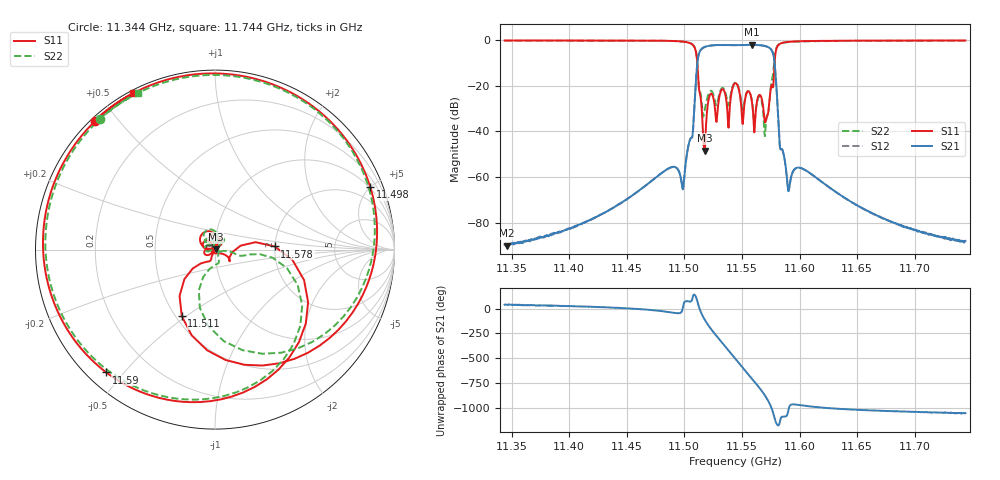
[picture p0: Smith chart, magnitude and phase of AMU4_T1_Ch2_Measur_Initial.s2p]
#  HZ  S  RI  R  50.00
! Rohde & Schwarz ZVA50 2Ports - Version 3.70 - 1145.1110k50 SN: 100192
! Date: 2025-08-07 12:42:33
! Measurements: S11 S21 S12 S22
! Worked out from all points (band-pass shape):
!   1001 points, 11.344 GHz to 11.744 GHz, reference 50 ohm
!   highest |S21| = -2.06 dB at 11.559 GHz (marker M1); lowest = -90.1 dB at 11.346 GHz (marker M2)
!   |S21| within 3 dB of the highest: 11.513 GHz to 11.576 GHz (63.09 MHz wide, 0.547 % of centre)
!   lowest |S11| = -48.4 dB at 11.518 GHz (marker M3), VSWR 1.01, Z = 50.4 + j0.0917 ohm
!   |S11| at or under -10 dB: 11.511 GHz to 11.578 GHz (67.11 MHz wide, 0.581 % of centre)
!   |S22| runs from -42.1 to -0.2 dB; largest |S21 - S12| = 0.0026
!   S11 on the Smith chart (normalised r, x): 11.344 GHz: 0.01, +0.44; 11.498 GHz: 0.94, +5.00; 11.511 GHz: 0.54, -0.48; 11.578 GHz: 1.99, +0.08; 11.59 GHz: 0.05, -0.45; 11.744 GHz: 0.01, +0.60
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1.1344e10  -0.6687 0.7192  2.64e-05 2.12e-05  2.3e-05 1.99e-05  -0.641 0.7289
1.1346e10  -0.6625 0.725  2.46e-05 1.92e-05  2.59e-05 1.92e-05  -0.6351 0.7341
1.14108e10  -0.3848 0.9054  8.91e-05 3.36e-05  8.93e-05 3.35e-05  -0.3742 0.8979
1.14776e10  0.3597 0.9051  0.00101 -0.000407  0.001 -0.000418  0.3051 0.9187
1.1498e10  0.8651 0.3479  0.000601 -0.00026  0.000593 -0.000266  0.8082 0.4689
1.15108e10  -0.1852 -0.3704  -0.0158 0.2298  -0.0154 0.2293  -0.0362 -0.427
1.15176e10  0.00369 0.000911  -0.2423 -0.6651  -0.2428 -0.6631  0.0244 0.0151
1.1522e10  0.0121 0.0596  -0.749 0.0985  -0.747 0.0996  0.0409 0.0621
1.15276e10  0.00662 0.0154  0.0159 0.779  0.017 0.777  0.0148 0.0347
1.15348e10  0.0124 0.0741  0.7652 -0.162  0.7631 -0.1628  0.0171 0.08
1.1544e10  -0.0715 0.0876  -0.6124 -0.4771  -0.6115 -0.4751  -0.0469 0.1073
1.1552e10  -0.036 0.000663  -0.2028 0.7601  -0.2008 0.7586  -0.0354 0.0225
1.15588e10  -0.0193 0.0378  0.7742 0.1532  0.7726 0.1513  -0.0115 0.0432
1.15652e10  -0.0589 -0.0222  0.1377 -0.7632  0.1359 -0.7617  -0.0584 0.00748
1.15708e10  -0.00573 -0.0162  -0.7271 -0.1115  -0.7254 -0.1106  0.012 -0.00946
1.15744e10  0.0572 -0.0297  -0.2504 0.6114  -0.2492 0.6102  0.0652 -0.0077
1.15784e10  0.3326 0.0177  0.2782 -0.1345  0.2775 -0.1344  0.4009 -0.1034
1.15832e10  0.0335 -0.8343  0.00278 -0.00305  0.00276 -0.00305  -0.066 -0.834
1.159e10  -0.6053 -0.6845  0.000452 0.000298  0.000452 0.000295  -0.6584 -0.6223
1.16108e10  -0.9573 -0.011  -2.1e-05 0.00113  -1.68e-05 0.00113  -0.9449 0.0554
1.16776e10  -0.7133 0.6691  7.57e-05 7.87e-05  7.6e-05 7.92e-05  -0.676 0.6932
1.1744e10  -0.4569 0.8704  3.58e-05 1.69e-05  3.37e-05 1.54e-05  -0.4263 0.8745
